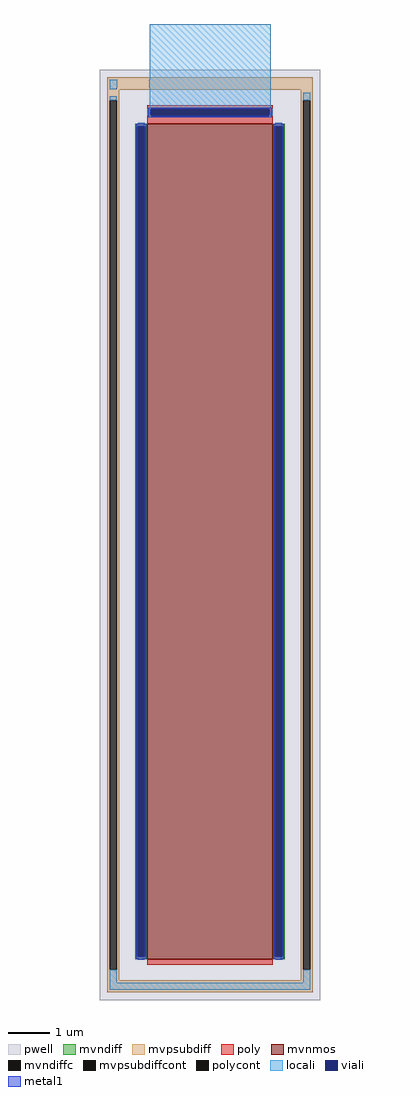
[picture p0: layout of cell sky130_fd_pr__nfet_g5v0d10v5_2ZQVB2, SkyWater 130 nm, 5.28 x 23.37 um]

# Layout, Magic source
magic
tech sky130A
magscale 1 2
<< pwell >>
rect -528 -2227 528 2227
<< mvnmos >>
rect -300 -2031 300 1969
<< mvndiff >>
rect -358 1957 -300 1969
rect -358 -2019 -346 1957
rect -312 -2019 -300 1957
rect -358 -2031 -300 -2019
rect 300 1957 358 1969
rect 300 -2019 312 1957
rect 346 -2019 358 1957
rect 300 -2031 358 -2019
<< mvndiffc >>
rect -346 -2019 -312 1957
rect 312 -2019 346 1957
<< mvpsubdiff >>
rect -492 2133 492 2191
rect -492 2083 -434 2133
rect -492 -2083 -480 2083
rect -446 -2083 -434 2083
rect 434 2083 492 2133
rect -492 -2133 -434 -2083
rect 434 -2083 446 2083
rect 480 -2083 492 2083
rect 434 -2133 492 -2083
rect -492 -2191 492 -2133
<< mvpsubdiffcont >>
rect -480 -2083 -446 2083
rect 446 -2083 480 2083
<< poly >>
rect -300 2041 300 2057
rect -300 2007 -284 2041
rect 284 2007 300 2041
rect -300 1969 300 2007
rect -300 -2057 300 -2031
<< polycont >>
rect -284 2007 284 2041
<< locali >>
rect -288 2179 292 2447
rect -480 2145 -444 2179
rect -290 2145 292 2179
rect -480 2135 -446 2145
rect -480 2083 -446 2101
rect -288 2041 292 2145
rect 446 2083 480 2117
rect -300 2007 -284 2041
rect 284 2007 300 2041
rect -346 1957 -312 1973
rect -346 -2035 -312 -2019
rect 312 1957 346 1973
rect 312 -2035 346 -2019
rect -480 -2145 -446 -2083
rect 446 -2145 480 -2083
rect -480 -2179 480 -2145
<< viali >>
rect -284 2007 284 2041
rect -346 -2019 -312 1957
rect 312 -2019 346 1957
<< metal1 >>
rect -296 2041 296 2047
rect -296 2007 -284 2041
rect 284 2007 296 2041
rect -296 2001 296 2007
rect -352 1957 -306 1969
rect -352 -2019 -346 1957
rect -312 -2019 -306 1957
rect -352 -2031 -306 -2019
rect 306 1957 352 1969
rect 306 -2019 312 1957
rect 346 -2019 352 1957
rect 306 -2031 352 -2019
<< properties >>
string FIXED_BBOX -463 -2162 463 2162
string gencell sky130_fd_pr__nfet_g5v0d10v5
string library sky130
string parameters w 20 l 3 m 1 nf 1 diffcov 100 polycov 100 guard 1 glc 1 grc 1 gtc 0 gbc 0 tbcov 100 rlcov 100 topc 1 botc 0 poverlap 0 doverlap 1 lmin 0.50 wmin 0.42 compatible {sky130_fd_pr__nfet_01v8 sky130_fd_pr__nfet_01v8_lvt  sky130_fd_bs_flash__special_sonosfet_star  sky130_fd_pr__nfet_g5v0d10v5 sky130_fd_pr__nfet_05v0_nvt  sky130_fd_pr__nfet_03v3_nvt} full_metal 1 viasrc 100 viadrn 100 viagate 100 viagb 0 viagr 0 viagl 0 viagt 0
<< end >>
